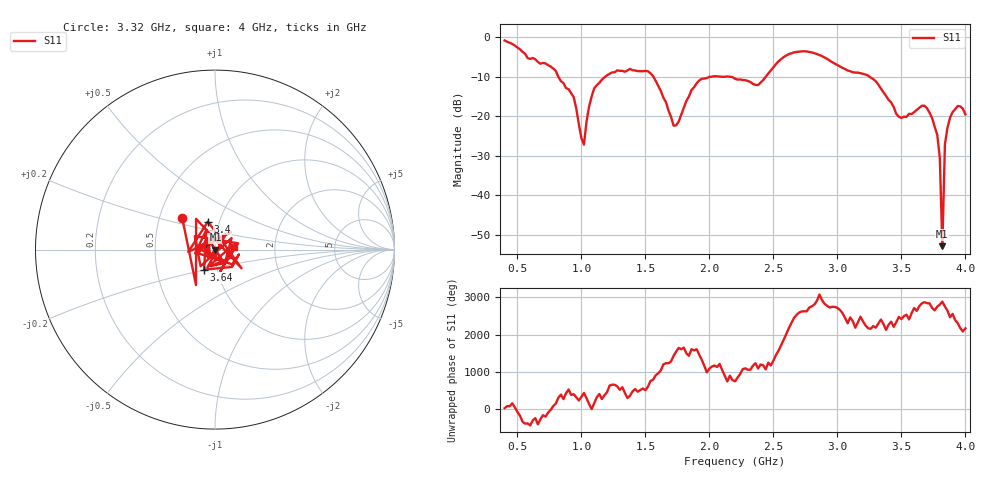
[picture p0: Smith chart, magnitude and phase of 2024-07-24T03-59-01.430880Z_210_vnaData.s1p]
!Created with skrf (http://scikit-rf.org).
# Hz S RI R 50.0
!freq ReS11 ImS11
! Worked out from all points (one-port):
!   181 points, 400 MHz to 4 GHz, reference 50 ohm
!   lowest |S11| = -52.9 dB at 3.82 GHz (marker M1), VSWR 1.00, Z = 50.2 + j0.00959 ohm
!   |S11| at or under -10 dB: 819.6 MHz to 1.186 GHz (366.2 MHz wide, 36.5 % of centre); 1.563 GHz to 2.013 GHz (450.3 MHz wide, 25.2 % of centre); 3.252 GHz to end of sweep (the widest 3 of 5)
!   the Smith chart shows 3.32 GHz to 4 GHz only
!   S11 on the Smith chart (normalised r, x): 3.32 GHz: 0.66, +0.24; 3.4 GHz: 0.88, +0.28; 3.64 GHz: 0.86, -0.20; 4 GHz: 1.23, +0.03
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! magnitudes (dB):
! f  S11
! 400 MHz  -0.8
! 860 MHz  -11.6
! 940 MHz  -15.2
! 1.02 GHz  -27.2
! 1.06 GHz  -17.5
! 1.1 GHz  -12.9
! 1.3 GHz  -8.5
! 1.54 GHz  -9.1
! 1.72 GHz  -22.4
! 1.76 GHz  -21.4
! 1.92 GHz  -11.0
! 2.2 GHz  -10.5
! 2.38 GHz  -12.1
! 2.66 GHz  -3.8
! 3.1 GHz  -8.6
! 3.32 GHz  -12.0
! 3.4 GHz  -15.9
! 3.48 GHz  -20.1
! 3.56 GHz  -19.4
! 3.64 GHz  -17.9
! 3.7 GHz  -18.0
! 3.78 GHz  -24.7
! 3.8 GHz  -30.5
! 3.82 GHz  -52.9
! 3.84 GHz  -27.1
! 3.86 GHz  -22.9
! 3.94 GHz  -17.4
! 4 GHz  -19.5
